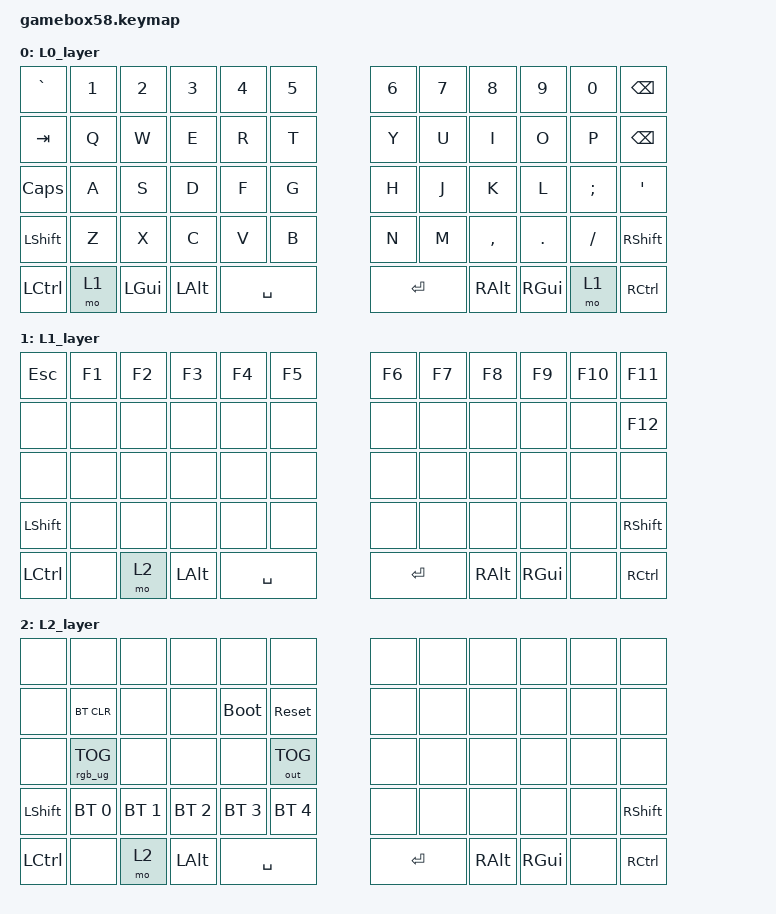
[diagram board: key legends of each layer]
#include <behaviors.dtsi>
#include <dt-bindings/zmk/keys.h>
#include <dt-bindings/zmk/bt.h>
#include <dt-bindings/zmk/outputs.h>
#include <dt-bindings/zmk/rgb.h>

&mt {
  flavor = "hold-preferred";
  tapping-term-ms = <175>;
  quick-tap-ms = <175>;
  // retro-tap;
};

&lt {  // layer-tap config
  flavor = "hold-preferred";
  tapping-term-ms = <175>;
  quick-tap-ms = <175>;
  // retro-tap;
};

/ {
    behaviors {
        bmt: balanced_mod_tap {
        compatible = "zmk,behavior-hold-tap";
        #binding-cells = <2>;
        flavor = "balanced";
        tapping-term-ms = <200>;    // <---[[moderate duration]]
        quick-tap-ms = <200>;
        bindings = <&kp>, <&kp>;
        };

        blt: balanced_layer_tap {
        compatible = "zmk,behavior-hold-tap";
        #binding-cells = <2>;
        flavor = "balanced";
        tapping-term-ms = <200>;    // <---[[moderate duration]]
        quick-tap-ms = <200>;
        bindings = <&mo>, <&kp>;
        };

        tmt: tap_preferred_mod_tap {
        compatible = "zmk,behavior-hold-tap";
        #binding-cells = <2>;
        flavor = "tap-preferred";
        //retro-tap;
        tapping-term-ms = <175>;    // <---[[moderate duration]]
        quick-tap-ms = <175>;
        require-prior-idle-ms = <125>;
        bindings = <&kp>, <&kp>;
        };

        tlt: tap_preferred_layer_tap {
        compatible = "zmk,behavior-hold-tap";
        #binding-cells = <2>;
        flavor = "tap-preferred";
        //retro-tap;
        tapping-term-ms = <175>;    // <---[[moderate duration]]
        quick-tap-ms = <175>;
        require-prior-idle-ms = <125>;
        bindings = <&mo>, <&kp>;
        };
    };
    
    keymap {
        compatible = "zmk,keymap";

        L0_layer {
            bindings = <
                &kp GRAVE  &kp N1     &kp N2     &kp N3     &kp N4     &kp N5           &kp N6     &kp N7     &kp N8     &kp N9     &kp N0     &kp BSPC
                &kp TAB    &kp Q      &kp W      &kp E      &kp R      &kp T            &kp Y      &kp U      &kp I      &kp O      &kp P      &kp BSPC
                &kp CAPS   &kp A      &kp S      &kp D      &kp F      &kp G            &kp H      &kp J      &kp K      &kp L      &kp SEMI   &kp SQT
                &kp LSHFT  &kp Z      &kp X      &kp C      &kp V      &kp B            &kp N      &kp M      &kp COMMA  &kp DOT    &kp FSLH   &kp RSHFT
                &kp LCTRL  &mo 1      &kp LGUI   &kp LALT   &kp SPACE                              &kp RET    &kp RALT   &kp RGUI   &mo 1      &kp RCTRL
            >;
        };

        L1_layer {
            bindings = <
                &kp ESC    &kp F1     &kp F2     &kp F3     &kp F4     &kp F5           &kp F6     &kp F7     &kp F8     &kp F9     &kp F10    &kp F11
                &none      &none      &none      &none      &none      &none            &none      &none      &none      &none      &none      &kp F12
                &none      &none      &none      &none      &none      &none            &none      &none      &none      &none      &none      &none
                &kp LSHFT  &none      &none      &none      &none      &none            &none      &none      &none      &none      &none      &kp RSHFT
                &kp LCTRL  &none      &mo 2      &kp LALT   &kp SPACE                              &kp RET    &kp RALT   &kp RGUI   &none      &kp RCTRL
            >;
        };

        L2_layer {
            bindings = <
                &none      &none            &none           &none           &none           &none                   &none      &none      &none      &none      &none      &none
                &none      &bt BT_CLR       &none           &none           &bootloader     &sys_reset              &none      &none      &none      &none      &none      &none
                &none      &rgb_ug RGB_TOG  &none           &none           &none           &out OUT_TOG            &none      &none      &none      &none      &none      &none
                &kp LSHFT  &bt BT_SEL 0     &bt BT_SEL 1    &bt BT_SEL 2    &bt BT_SEL 3    &bt BT_SEL 4            &none      &none      &none      &none      &none      &kp RSHFT
                &kp LCTRL  &none            &mo 2           &kp LALT        &kp SPACE                                          &kp RET    &kp RALT   &kp RGUI   &none      &kp RCTRL
            >;
        };
    };
};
